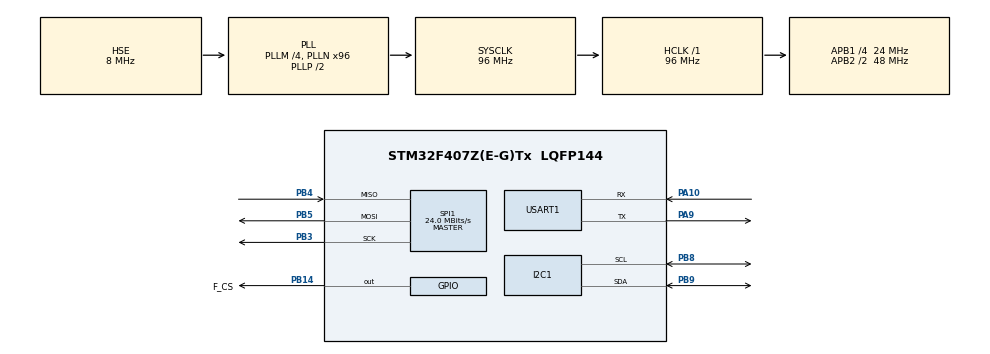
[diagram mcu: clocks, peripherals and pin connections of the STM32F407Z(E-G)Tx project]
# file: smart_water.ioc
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Dma.Request0=USART1_TX
Dma.Request1=USART1_RX
Dma.USART1_RX.1.Direction=DMA_PERIPH_TO_MEMORY
Dma.USART1_RX.1.FIFOMode=DMA_FIFOMODE_DISABLE
Dma.USART1_RX.1.Instance=DMA2_Stream2
Dma.USART1_RX.1.MemDataAlignment=DMA_MDATAALIGN_BYTE
Dma.USART1_RX.1.MemInc=DMA_MINC_ENABLE
Dma.USART1_RX.1.Mode=DMA_NORMAL
Dma.USART1_RX.1.PeriphDataAlignment=DMA_PDATAALIGN_BYTE
Dma.USART1_RX.1.PeriphInc=DMA_PINC_DISABLE
Dma.USART1_RX.1.Priority=DMA_PRIORITY_MEDIUM
Dma.USART1_TX.0.Direction=DMA_MEMORY_TO_PERIPH
Dma.USART1_TX.0.FIFOMode=DMA_FIFOMODE_DISABLE
Dma.USART1_TX.0.Instance=DMA2_Stream7
Dma.USART1_TX.0.MemDataAlignment=DMA_MDATAALIGN_BYTE
Dma.USART1_TX.0.MemInc=DMA_MINC_ENABLE
Dma.USART1_TX.0.Mode=DMA_NORMAL
Dma.USART1_TX.0.PeriphDataAlignment=DMA_PDATAALIGN_BYTE
Dma.USART1_TX.0.PeriphInc=DMA_PINC_DISABLE
Dma.USART1_TX.0.Priority=DMA_PRIORITY_MEDIUM
FREERTOS.Tasks01=defaultTask,0,128,StartDefaultTask,Default,NULL,Dynamic,NULL,NULL
FREERTOS.configENABLE_FPU=1
Mcu.Family=STM32F4
Mcu.Name=STM32F407Z(E-G)Tx
Mcu.Package=LQFP144
NVIC.DMA2_Stream2_IRQn=true\:5\:0\:false\:false\:true\:true\:false\:true\:true
NVIC.DMA2_Stream7_IRQn=true\:5\:0\:false\:false\:true\:true\:false\:true\:true
NVIC.PriorityGroup=NVIC_PRIORITYGROUP_4
NVIC.USART1_IRQn=true\:5\:0\:false\:false\:true\:true\:false\:true\:true
PA10.Mode=Asynchronous
PA10.Signal=USART1_RX
PA9.Mode=Asynchronous
PA9.Signal=USART1_TX
PB14.GPIO_Label=F_CS
PB14.GPIO_PuPd=GPIO_PULLUP
PB14.Signal=GPIO_Output
PB3.Mode=Full_Duplex_Master
PB3.Signal=SPI1_SCK
PB4.Mode=Full_Duplex_Master
PB4.Signal=SPI1_MISO
PB5.Mode=Full_Duplex_Master
PB5.Signal=SPI1_MOSI
PB8.Mode=I2C
PB8.Signal=I2C1_SCL
PB9.Mode=I2C
PB9.Signal=I2C1_SDA
PC14-OSC32_IN.Mode=LSE-External-Oscillator
PC14-OSC32_IN.Signal=RCC_OSC32_IN
PC15-OSC32_OUT.Mode=LSE-External-Oscillator
PC15-OSC32_OUT.Signal=RCC_OSC32_OUT
PH0-OSC_IN.Mode=HSE-External-Oscillator
PH0-OSC_IN.Signal=RCC_OSC_IN
PH1-OSC_OUT.Mode=HSE-External-Oscillator
PH1-OSC_OUT.Signal=RCC_OSC_OUT
ProjectManager.HeapSize=0x200
ProjectManager.StackSize=0x400
ProjectManager.TargetToolchain=Makefile
RCC.48MHZClocksFreq_Value=48000000
RCC.AHBFreq_Value=96000000
RCC.APB1CLKDivider=RCC_HCLK_DIV4
RCC.APB1Freq_Value=24000000
RCC.APB1TimFreq_Value=48000000
RCC.APB2CLKDivider=RCC_HCLK_DIV2
RCC.APB2Freq_Value=48000000
RCC.APB2TimFreq_Value=96000000
RCC.CortexFreq_Value=96000000
RCC.HCLKFreq_Value=96000000
RCC.HSE_VALUE=8000000
RCC.HSI_VALUE=16000000
RCC.PLLM=4
RCC.PLLN=96
RCC.PLLSourceVirtual=RCC_PLLSOURCE_HSE
RCC.SYSCLKFreq_VALUE=96000000
RCC.SYSCLKSource=RCC_SYSCLKSOURCE_PLLCLK
RCC.VCOOutputFreq_Value=192000000
RTC.Date=15
RTC.Format=RTC_FORMAT_BIN
RTC.Hours=19
RTC.Minutes=42
RTC.Month=RTC_MONTH_JULY
RTC.Seconds=30
RTC.Year=26
SPI1.CalculateBaudRate=24.0 MBits/s
SPI1.Direction=SPI_DIRECTION_2LINES
SPI1.Mode=SPI_MODE_MASTER
SPI1.VirtualType=VM_MASTER
USART1.VirtualMode=VM_ASYNC
VP_FREERTOS_VS_CMSIS_V1.Mode=CMSIS_V1
VP_RTC_VS_RTC_Activate.Mode=RTC_Enabled
VP_RTC_VS_RTC_Calendar.Mode=RTC_Calendar
board=custom

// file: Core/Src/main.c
/* USER CODE BEGIN Header */
/**
  ******************************************************************************
  * @file           : main.c
  * @brief          : Main program body
  ******************************************************************************
  * @attention
  *
  * Copyright (c) 2026 STMicroelectronics.
  * All rights reserved.
  *
  * This software is licensed under terms that can be found in the LICENSE file
  * in the root directory of this software component.
  * If no LICENSE file comes with this software, it is provided AS-IS.
  *
  ******************************************************************************
  */
/* USER CODE END Header */
#include "main.h"
#include "cmsis_os.h"
#include "dma.h"
#include "i2c.h"
#include "rtc.h"
#include "spi.h"
#include "stm32f4xx_hal_rtc.h"
#include "usart.h"
#include "gpio.h"

/* USER CODE BEGIN Includes */
#include "log.h"
#include <stdbool.h>
#include <stdint.h>
#include <string.h>
#include "eeprom.h"
#include "flash.h"
#include "disk.h"
#include "lora.h"
#include <string.h>
#include "FreeRTOSConfig.h"
#include "task.h"
#include "queue.h"
#include "FreeRTOS.h"
#include "tank.h"
#include "semphr.h"
/* USER CODE END Includes */

void SystemClock_Config(void);
void MX_FREERTOS_Init(void);

/* USER CODE BEGIN 0 */
TaskHandle_t g_lora_receive_handle = NULL;
TaskHandle_t g_info_parse_handle = NULL;
TaskHandle_t g_info_store_handle = NULL;
TaskHandle_t g_rtos_handle = NULL;
QueueHandle_t g_lora_queue_handle = NULL;

static void vLora_Receive(void *pvParameters);
static void vInfo_Parse(void *pvParameters);
static void vInfo_Store(void * pvParameters);
static void vRTC_Data_Save(void * pvParameters);
static void Save_Tank_Info(void);
/* USER CODE END 0 */

int main(void)
{

  /* MCU Configuration--------------------------------------------------------*/

  /* Reset of all peripherals, Initializes the Flash interface and the Systick. */
  HAL_Init();

  /* Configure the system clock */
  SystemClock_Config();

  /* Initialize all configured peripherals */
  MX_GPIO_Init();
  MX_DMA_Init();
  MX_USART1_UART_Init();
  MX_RTC_Init();
  MX_I2C1_Init();
  MX_SPI1_Init();
  /* USER CODE BEGIN 2 */
  log_init(LOG_MSG_ERROR);
  eeprom_init();
  flash_init();
  lora_init();
  flash_driver_register();
  eeprom_driver_register();
  if(disk_init() == false)
  {
    LOG_ERROR("Disk initialization failed!!");
  }
  else
  {
    LOG_INFO("Disk initialization successful!!");
  }

  if(is_magic_number_in_disk() == true)
  {
   tank_data_restore();
  }

  MX_FREERTOS_Init();
  g_lora_queue_handle = xQueueCreate(5, sizeof(lora.lora_rbuff));
  xTaskCreate(vLora_Receive, "vlorareceive", 128, NULL, 2, &g_lora_receive_handle);
  xTaskCreate(vInfo_Parse, "vInfo_Parse", 256, NULL, 4, &g_info_parse_handle);
  xTaskCreate(vInfo_Store, "vInfo_Store", 256, NULL, 3, &g_info_store_handle);
  xTaskCreate(vRTC_Data_Save, "vRTC_Data_Save", 256, NULL, 3, &g_rtos_handle);
  osKernelStart();

  /* USER CODE END 2 */

  /* Call init function for freertos objects (in cmsis_os2.c) */
  MX_FREERTOS_Init();

  /* Start scheduler */
  osKernelStart();

  /* We should never get here as control is now taken by the scheduler */

  /* Infinite loop */
  /* USER CODE BEGIN WHILE */
  while (1);
  //{
  //  if(lora.rx_flag)
  //  {
  //    lora.rx_flag = false;
  //    LOG_INFO("The receive data is %s", lora.lora_rbuff);
  //    HAL_UARTEx_ReceiveToIdle_DMA(&huart1, lora.lora_rbuff, sizeof(lora.lora_rbuff));
  //  }
  //}
    /* USER CODE END WHILE */

}

void SystemClock_Config(void)
{
  RCC_OscInitTypeDef RCC_OscInitStruct = {0};
  RCC_ClkInitTypeDef RCC_ClkInitStruct = {0};

  /** Configure the main internal regulator output voltage
  */
  __HAL_RCC_PWR_CLK_ENABLE();
  __HAL_PWR_VOLTAGESCALING_CONFIG(PWR_REGULATOR_VOLTAGE_SCALE1);

  /** Initializes the RCC Oscillators according to the specified parameters
  * in the RCC_OscInitTypeDef structure.
  */
  RCC_OscInitStruct.OscillatorType = RCC_OSCILLATORTYPE_LSI|RCC_OSCILLATORTYPE_HSE;
  RCC_OscInitStruct.HSEState = RCC_HSE_ON;
  RCC_OscInitStruct.LSIState = RCC_LSI_ON;
  RCC_OscInitStruct.PLL.PLLState = RCC_PLL_ON;
  RCC_OscInitStruct.PLL.PLLSource = RCC_PLLSOURCE_HSE;
  RCC_OscInitStruct.PLL.PLLM = 4;
  RCC_OscInitStruct.PLL.PLLN = 96;
  RCC_OscInitStruct.PLL.PLLP = RCC_PLLP_DIV2;
  RCC_OscInitStruct.PLL.PLLQ = 4;
  if (HAL_RCC_OscConfig(&RCC_OscInitStruct) != HAL_OK)
  {
    Error_Handler();
  }

  /** Initializes the CPU, AHB and APB buses clocks
  */
  RCC_ClkInitStruct.ClockType = RCC_CLOCKTYPE_HCLK|RCC_CLOCKTYPE_SYSCLK
                              |RCC_CLOCKTYPE_PCLK1|RCC_CLOCKTYPE_PCLK2;
  RCC_ClkInitStruct.SYSCLKSource = RCC_SYSCLKSOURCE_PLLCLK;
  RCC_ClkInitStruct.AHBCLKDivider = RCC_SYSCLK_DIV1;
  RCC_ClkInitStruct.APB1CLKDivider = RCC_HCLK_DIV4;
  RCC_ClkInitStruct.APB2CLKDivider = RCC_HCLK_DIV2;

  if (HAL_RCC_ClockConfig(&RCC_ClkInitStruct, FLASH_LATENCY_3) != HAL_OK)
  {
    Error_Handler();
  }
}

/* USER CODE BEGIN 4 */
void HAL_UART_TxCpltCallback(UART_HandleTypeDef* huart)
{
  if(huart->Instance == USART1)
  {
     if(Log.p_ring_buff->finish_copy_flag == true)
     {
        if(ring_buff_is_empty(Log.p_ring_buff))
        {
           Log.tx_busy = false;
        }
        else
        {
         const uint16_t len = ring_buff_get(Log.p_ring_buff);
         HAL_UART_Transmit_DMA(&huart1, Log.p_ring_buff->send_buff, len);
          Log.tx_busy = true;
        }
  }
  else
  {
    Log.tx_busy =false;
  }
  }
}
void HAL_UARTEx_RxEventCallback(UART_HandleTypeDef *huart, uint16_t size)
{
   if(huart->Instance == USART1)
   {
     if(size > 0)
     {
       lora.lora_rbuff[size] = '\0';
       lora.rx_flag = true;
     }
   }

}

SemaphoreHandle_t xBinarySemaphore;
/*
 * @brief: Create lora task..
 */
static void vLora_Receive(void *pvParameters)
{
  while(1)
  {
    if(lora.rx_flag)
    {
      lora.rx_flag = false;
      xQueueSend(g_lora_queue_handle, &lora.lora_rbuff, 100);
      HAL_UARTEx_ReceiveToIdle_DMA(&huart1, lora.lora_rbuff, sizeof(lora.lora_rbuff));
    }
    vTaskDelay(10);
  }
}
static void vInfo_Parse(void *pvParameters)
{
 uint8_t lora_buff[sizeof(lora.lora_rbuff)] = {0};
 xBinarySemaphore = xSemaphoreCreateBinary();
 while(1)
 {
    if(xQueueReceive(g_lora_queue_handle, &lora_buff, portMAX_DELAY) == pdPASS)
    {
     const uint8_t tank_num = parse_tank_info(lora_buff);
     if(tank_num < TANK_NUM)
     {
       xTaskNotify(g_info_store_handle, tank_num, eSetValueWithOverwrite);
     }
    }

    vTaskDelay(100);
 }
}

static void vInfo_Store(void * pvParameters)
{
  while(1)
  {
    uint8_t tank_num = 0;
    if(xTaskNotifyWait(0x00, 0xFFFFFFFF, (uint32_t*)&tank_num, portMAX_DELAY) == pdPASS)
    {
     p_disk->write(TANKN_ADDRESS(tank_num), (uint8_t*)&tank[tank_num], sizeof(tank[tank_num]));
     LOG_INFO("Tank %d is saved!!", tank_num);
    }
  }
  vTaskDelay(100);

}
static void vRTC_Data_Save(void * pvParameters)
{
  RTC_TimeTypeDef real_time;
  RTC_DateTypeDef real_date;
  while(1)
  {
    if(HAL_RTC_GetDate(&hrtc, &real_date, RTC_FORMAT_BIN) != HAL_OK)
    {
     LOG_ERROR("Get RTC date failed!\n");
     HAL_RTC_Init(&hrtc);
    }
    if(HAL_RTC_GetTime(&hrtc, &real_time, RTC_FORMAT_BIN) != HAL_OK)
    {
     LOG_ERROR("Get RTC time failed!\n");
     HAL_RTC_Init(&hrtc);
    }
    if((real_time.Hours == 23) && (real_time.Seconds == 59) && (real_time.Minutes == 59))
    {
      Save_Tank_Info();
    }
    vTaskDelay(1000);
  }
}

static void Save_Tank_Info(void)
{
  p_disk->write(TANKN_ADDRESS(0), (uint8_t*)&tank[0], sizeof(tank));

}
/* USER CODE END 4 */

void Error_Handler(void)
{
  __disable_irq();
  while (1)
  {
  }
}

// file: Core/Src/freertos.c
/* USER CODE BEGIN Header */
/**
  ******************************************************************************
  * File Name          : freertos.c
  * Description        : Code for freertos applications
  ******************************************************************************
  * @attention
  *
  * Copyright (c) 2026 STMicroelectronics.
  * All rights reserved.
  *
  * This software is licensed under terms that can be found in the LICENSE file
  * in the root directory of this software component.
  * If no LICENSE file comes with this software, it is provided AS-IS.
  *
  ******************************************************************************
  */
/* USER CODE END Header */

#include "FreeRTOS.h"
#include "task.h"
#include "main.h"
#include "cmsis_os.h"

osThreadId defaultTaskHandle;

void StartDefaultTask(void const * argument);

void MX_FREERTOS_Init(void); /* (MISRA C 2004 rule 8.1) */

/* GetIdleTaskMemory prototype (linked to static allocation support) */
void vApplicationGetIdleTaskMemory( StaticTask_t **ppxIdleTaskTCBBuffer, StackType_t **ppxIdleTaskStackBuffer, uint32_t *pulIdleTaskStackSize );

/* USER CODE BEGIN GET_IDLE_TASK_MEMORY */
static StaticTask_t xIdleTaskTCBBuffer;
static StackType_t xIdleStack[configMINIMAL_STACK_SIZE];

void vApplicationGetIdleTaskMemory( StaticTask_t **ppxIdleTaskTCBBuffer, StackType_t **ppxIdleTaskStackBuffer, uint32_t *pulIdleTaskStackSize )
{
  *ppxIdleTaskTCBBuffer = &xIdleTaskTCBBuffer;
  *ppxIdleTaskStackBuffer = &xIdleStack[0];
  *pulIdleTaskStackSize = configMINIMAL_STACK_SIZE;
  /* place for user code */
}
/* USER CODE END GET_IDLE_TASK_MEMORY */

void MX_FREERTOS_Init(void) {

  /* Create the thread(s) */
  /* definition and creation of defaultTask */
  osThreadDef(defaultTask, StartDefaultTask, osPriorityNormal, 0, 256);
  defaultTaskHandle = osThreadCreate(osThread(defaultTask), NULL);

}

void StartDefaultTask(void const * argument)
{
  for(;;)
  {
    osDelay(1);
  }
}
